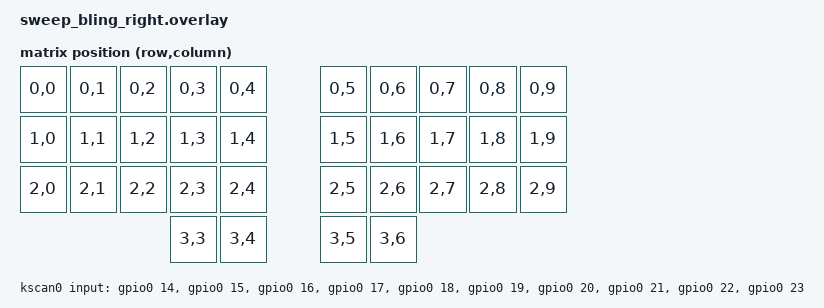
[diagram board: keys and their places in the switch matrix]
#include <dt-bindings/zmk/matrix_transform.h>

/ {
    chosen {
        zmk,kscan = &kscan0;
        zmk,matrix_transform = &default_transform;
    };

    /* Standard Sweep Matrix for Right Side */
    default_transform: matrix_transform {
        compatible = "zmk,matrix-transform";
        columns = <10>;
        rows = <4>;
        col-offset = <5>;
        map = <
            RC(0,0) RC(0,1) RC(0,2) RC(0,3) RC(0,4)    RC(0,5) RC(0,6) RC(0,7) RC(0,8) RC(0,9)
            RC(1,0) RC(1,1) RC(1,2) RC(1,3) RC(1,4)    RC(1,5) RC(1,6) RC(1,7) RC(1,8) RC(1,9)
            RC(2,0) RC(2,1) RC(2,2) RC(2,3) RC(2,4)    RC(2,5) RC(2,6) RC(2,7) RC(2,8) RC(2,9)
                            RC(3,3) RC(3,4)    RC(3,5) RC(3,6)
        >;
    };

    kscan0: kscan_0 {
        compatible = "zmk,kscan-gpio-direct";
        input-gpios
            = <&gpio0 14 (GPIO_ACTIVE_LOW | GPIO_PULL_UP)>
            , <&gpio0 15 (GPIO_ACTIVE_LOW | GPIO_PULL_UP)>
            , <&gpio0 16 (GPIO_ACTIVE_LOW | GPIO_PULL_UP)>
            , <&gpio0 17 (GPIO_ACTIVE_LOW | GPIO_PULL_UP)>
            , <&gpio0 18 (GPIO_ACTIVE_LOW | GPIO_PULL_UP)>
            , <&gpio0 19 (GPIO_ACTIVE_LOW | GPIO_PULL_UP)>
            , <&gpio0 20 (GPIO_ACTIVE_LOW | GPIO_PULL_UP)>
            , <&gpio0 21 (GPIO_ACTIVE_LOW | GPIO_PULL_UP)>
            , <&gpio0 22 (GPIO_ACTIVE_LOW | GPIO_PULL_UP)>
            , <&gpio0 23 (GPIO_ACTIVE_LOW | GPIO_PULL_UP)>
            ;
    };
};

/* Touchpad on I2C pins GP4 (SDA) and GP5 (SCL) */
&pico_i2c0 {
    status = "okay";
    pinctrl-0 = <&i2c0_default>;
    pinctrl-names = "default";

    touchpad: touchpad@2c {
        compatible = "sharp,ls0xx"; /* Placeholder: replace with your specific touchpad driver */
        reg = <0x2c>;
        status = "okay";
    };
};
